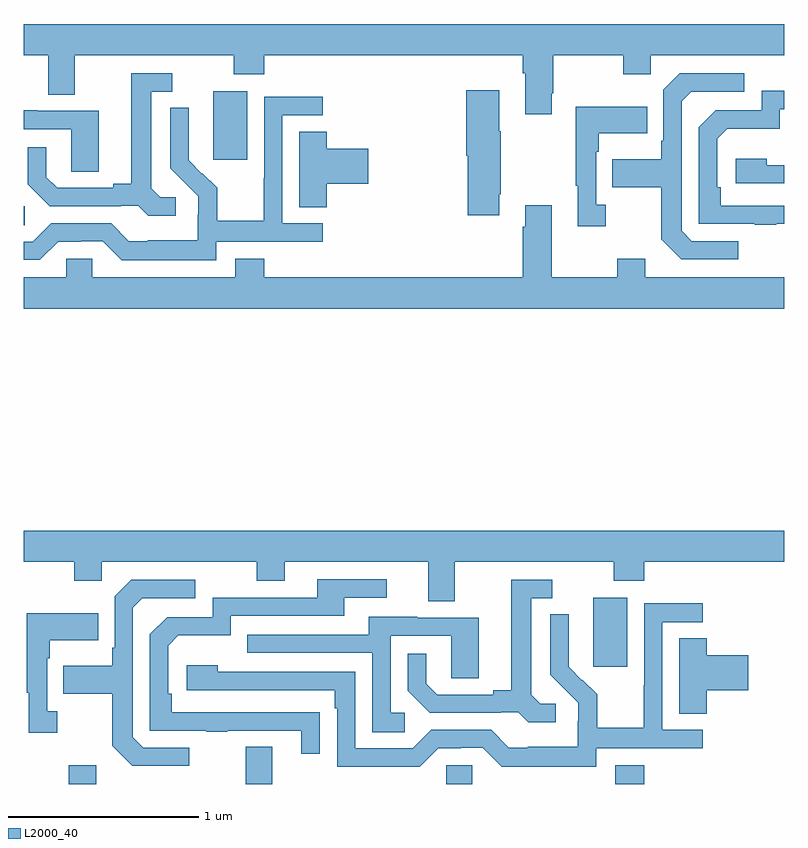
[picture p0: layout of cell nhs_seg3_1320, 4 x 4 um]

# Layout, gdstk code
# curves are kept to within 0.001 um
import gdstk
lib = gdstk.Library(unit=1e-6, precision=1e-09)
def R(c, l, rs):  # rectangles x0, y0, x1, y1
    for r in rs: c.add(gdstk.rectangle(r[:2], r[2:], *l))
def P(c, l, *ps):  # polygons
    for p in ps: c.add(gdstk.Polygon(p, *l))
L2000_40 = (2000, 40)

nhs_seg3_1320 = lib.new_cell('nhs_seg3_1320')
R(nhs_seg3_1320, L2000_40, [(179.236,714.4,179.383,714.499), (180.167,714.4,180.307,714.595), (181.221,714.4,181.359,714.498), (182.111,714.4,182.264,714.499), (181.994,715.017,182.173,715.378), (179,717.337,179.005,717.438), (179.996,717.681,180.175,718.042)])
P(nhs_seg3_1320, L2000_40, [(181.777,718.033),(181.785,718.033),(181.785,718.232),(182.152,718.232),(182.152,718.133),(182.298,718.133),(182.298,718.232),(183,718.232),(183,718.396),(179,718.396),(179,718.232),(179.129,718.232),(179.129,718.024),(179.269,718.024),(179.269,718.232),(180.106,718.232),(180.106,718.133),(180.266,718.133),(180.266,718.232),(181.625,718.232),(181.625,718.136),(181.637,718.136),(181.637,717.921),(181.777,717.921)],
  [(182.758,717.255),(182.514,717.255),(182.46,717.309),(182.46,717.99),(182.511,718.041),(182.788,718.041),(182.788,718.137),(182.451,718.137),(182.364,718.05),(182.364,717.781),(182.352,717.781),(182.352,717.685),(182.095,717.685),(182.095,717.538),(182.352,717.538),(182.352,717.265),(182.457,717.159),(182.758,717.159)],
  [(179.8,717.486),(179.718,717.486),(179.671,717.533),(179.671,718.041),(179.782,718.041),(179.782,718.137),(179.567,718.137),(179.567,717.557),(179.471,717.557),(179.471,717.534),(179.176,717.534),(179.119,717.591),(179.119,717.748),(179.022,717.748),(179.022,717.554),(179.138,717.438),(179.51,717.438),(179.51,717.441),(179.604,717.441),(179.656,717.389),(179.8,717.389)],
  [(181.501,717.502),(181.509,717.502),(181.509,717.833),(181.501,717.833),(181.501,718.048),(181.328,718.048),(181.328,717.702),(181.334,717.702),(181.334,717.39),(181.501,717.39)],
  [(182.957,717.345),(183,717.345),(183,717.441),(182.666,717.441),(182.666,717.538),(182.646,717.538),(182.646,717.792),(182.699,717.845),(182.976,717.845),(182.976,717.948),(183,717.948),(183,718.044),(182.88,718.044),(182.88,717.942),(182.64,717.942),(182.55,717.852),(182.55,717.345),(182.845,717.345),(182.845,717.34),(182.957,717.34)],
  [(180.012,717.252),(180.574,717.252),(180.574,717.348),(180.36,717.348),(180.36,717.915),(180.574,717.915),(180.574,718.014),(180.264,718.014),(180.264,717.584),(180.262,717.584),(180.262,717.361),(180.017,717.361),(180.017,717.535),(179.94,717.612),(179.937,717.609),(179.867,717.68),(179.868,717.956),(179.772,717.956),(179.772,717.638),(179.918,717.49),(179.918,717.393),(179.916,717.393),(179.916,717.259),(179.653,717.259),(179.653,717.255),(179.553,717.255),(179.46,717.348),(179.145,717.348),(179.049,717.252),(179,717.252),(179,717.156),(179.085,717.156),(179.181,717.252),(179.3,717.252),(179.3,717.255),(179.415,717.255),(179.515,717.155),(180.012,717.155)],
  [(182.062,717.446),(182.01,717.446),(182.01,717.725),(182.023,717.725),(182.023,717.821),(182.279,717.821),(182.279,717.961),(181.902,717.961),(181.902,717.545),(181.913,717.545),(181.913,717.333),(182.062,717.333)],
  [(179.395,717.939),(179.071,717.939),(179.071,717.943),(179,717.943),(179,717.843),(179.25,717.843),(179.25,717.619),(179.395,717.619)],
  [(180.593,717.557),(180.811,717.557),(180.811,717.74),(180.593,717.74),(180.593,717.83),(180.449,717.83),(180.449,717.433),(180.593,717.433)],
  [(183,717.654),(182.906,717.654),(182.906,717.688),(182.745,717.688),(182.745,717.558),(183,717.558)],
  [(183,717.064),(182.269,717.064),(182.269,717.163),(182.122,717.163),(182.122,717.064),(181.777,717.064),(181.777,717.442),(181.637,717.442),(181.637,717.329),(181.625,717.329),(181.625,717.064),(180.266,717.064),(180.266,717.163),(180.113,717.163),(180.113,717.064),(179.361,717.064),(179.361,717.162),(179.223,717.162),(179.223,717.064),(179,717.064),(179,716.9),(183,716.9)],
  [(181.267,715.568),(182.104,715.568),(182.104,715.469),(182.264,715.469),(182.264,715.568),(183,715.568),(183,715.732),(179,715.732),(179,715.568),(179.266,715.568),(179.266,715.469),(179.412,715.469),(179.412,715.568),(180.226,715.568),(180.226,715.469),(180.373,715.469),(180.373,715.568),(181.127,715.568),(181.127,715.36),(181.267,715.36)],
  [(180.557,714.776),(179.78,714.777),(179.78,714.874),(179.76,714.874),(179.76,715.128),(179.813,715.181),(180.09,715.181),(180.09,715.284),(180.685,715.284),(180.685,715.38),(180.91,715.38),(180.91,715.476),(180.545,715.476),(180.545,715.38),(179.994,715.38),(179.994,715.278),(179.754,715.278),(179.664,715.188),(179.664,714.681),(179.959,714.681),(179.959,714.676),(180.071,714.676),(180.071,714.681),(180.461,714.681),(180.461,714.558),(180.557,714.558)],
  [(179.872,714.591),(179.628,714.591),(179.574,714.645),(179.574,715.326),(179.625,715.377),(179.902,715.377),(179.902,715.473),(179.565,715.473),(179.478,715.386),(179.478,715.117),(179.466,715.117),(179.466,715.021),(179.209,715.021),(179.209,714.874),(179.466,714.874),(179.466,714.601),(179.571,714.495),(179.872,714.495)],
  [(181.798,714.822),(181.716,714.822),(181.669,714.869),(181.669,715.377),(181.78,715.377),(181.78,715.473),(181.565,715.473),(181.565,714.893),(181.469,714.893),(181.469,714.87),(181.174,714.87),(181.117,714.927),(181.117,715.084),(181.02,715.084),(181.02,714.89),(181.136,714.774),(181.508,714.774),(181.508,714.777),(181.602,714.777),(181.654,714.725),(181.798,714.725)],
  [(182.01,714.588),(182.572,714.588),(182.572,714.684),(182.358,714.684),(182.358,715.251),(182.572,715.251),(182.572,715.35),(182.262,715.35),(182.262,714.92),(182.26,714.92),(182.26,714.697),(182.015,714.697),(182.015,714.871),(181.938,714.948),(181.935,714.945),(181.865,715.016),(181.866,715.292),(181.77,715.292),(181.77,714.974),(181.916,714.826),(181.916,714.729),(181.914,714.729),(181.914,714.595),(181.651,714.595),(181.651,714.591),(181.551,714.591),(181.458,714.684),(181.143,714.684),(181.047,714.588),(180.744,714.588),(180.744,714.99),(180.02,714.99),(180.02,715.024),(179.859,715.024),(179.859,714.894),(180.635,714.894),(180.635,714.797),(180.648,714.797),(180.648,714.492),(181.083,714.492),(181.179,714.588),(181.298,714.588),(181.298,714.591),(181.413,714.591),(181.513,714.491),(182.01,714.491)],
  [(179.176,714.782),(179.124,714.782),(179.124,715.061),(179.137,715.061),(179.137,715.157),(179.393,715.157),(179.393,715.297),(179.016,715.297),(179.016,714.881),(179.027,714.881),(179.027,714.669),(179.176,714.669)],
  [(181.003,714.774),(180.93,714.774),(180.93,715.179),(181.248,715.179),(181.248,714.955),(181.393,714.955),(181.393,715.275),(181.069,715.275),(181.069,715.279),(180.815,715.279),(180.815,715.185),(180.175,715.185),(180.175,715.089),(180.834,715.089),(180.834,714.673),(181.003,714.673)],
  [(182.591,714.893),(182.809,714.893),(182.809,715.076),(182.591,715.076),(182.591,715.166),(182.447,715.166),(182.447,714.769),(182.591,714.769)])

lib.write_gds('nhs_seg3_1320.gds')
